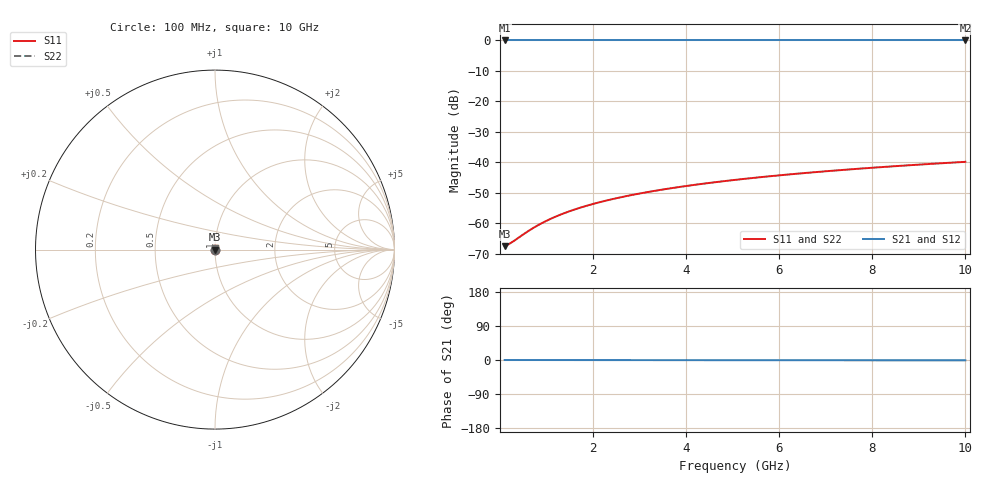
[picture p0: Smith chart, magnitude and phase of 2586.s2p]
# Hz S RI R 50.00
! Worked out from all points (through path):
!   100 points, 100 MHz to 10 GHz, reference 50 ohm
!   highest |S21| = 0.00 dB at 100 MHz (marker M1); lowest = 0.0 dB at 10 GHz (marker M2)
!   lowest |S11| = -67.5 dB at 100 MHz (marker M3), VSWR 1.00, Z = 50 + j0.0102 ohm
!   |S11| at or under -10 dB: start of sweep to end of sweep
!   |S22| runs from -67.5 to -39.8 dB; largest |S21 - S12| = 0
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1e8  0.000412 0.000102  0.9996 -0.000166  0.9996 -0.000166  0.000412 0.000102
2e8  0.000414 0.000204  0.9996 -0.000331  0.9996 -0.000331  0.000414 0.000204
3e8  0.000416 0.000306  0.9996 -0.000497  0.9996 -0.000497  0.000416 0.000306
6e8  0.000421 0.000612  0.9996 -0.000993  0.9996 -0.000993  0.000421 0.000612
7e8  0.000422 0.000714  0.9996 -0.00116  0.9996 -0.00116  0.000422 0.000714
8e8  0.000424 0.000816  0.9996 -0.00132  0.9996 -0.00132  0.000424 0.000816
1e9  0.000426 0.00102  0.9996 -0.00166  0.9996 -0.00166  0.000426 0.00102
1.2e9  0.000428 0.00122  0.9996 -0.00199  0.9996 -0.00199  0.000428 0.00122
1.4e9  0.000431 0.00143  0.9996 -0.00232  0.9996 -0.00232  0.000431 0.00143
1.6e9  0.000433 0.00163  0.9996 -0.00265  0.9996 -0.00265  0.000433 0.00163
1.8e9  0.000435 0.00184  0.9996 -0.00298  0.9996 -0.00298  0.000435 0.00184
2.1e9  0.000439 0.00214  0.9996 -0.00348  0.9996 -0.00348  0.000439 0.00214
2.5e9  0.000444 0.00255  0.9996 -0.00414  0.9996 -0.00414  0.000444 0.00255
2.9e9  0.000449 0.00296  0.9995 -0.0048  0.9995 -0.0048  0.000449 0.00296
3.4e9  0.000457 0.00347  0.9995 -0.00563  0.9995 -0.00563  0.000457 0.00347
4.2e9  0.00047 0.00428  0.9995 -0.00696  0.9995 -0.00696  0.00047 0.00428
5.1e9  0.000488 0.0052  0.9995 -0.00845  0.9995 -0.00845  0.000488 0.0052
5.9e9  0.000505 0.00602  0.9995 -0.00977  0.9995 -0.00977  0.000505 0.00602
6.7e9  0.000525 0.00684  0.9995 -0.0111  0.9995 -0.0111  0.000525 0.00684
7.5e9  0.000547 0.00765  0.9994 -0.0124  0.9994 -0.0124  0.000547 0.00765
8.4e9  0.000574 0.00857  0.9994 -0.0139  0.9994 -0.0139  0.000574 0.00857
1e10  0.00063 0.0102  0.9993 -0.0166  0.9993 -0.0166  0.00063 0.0102
